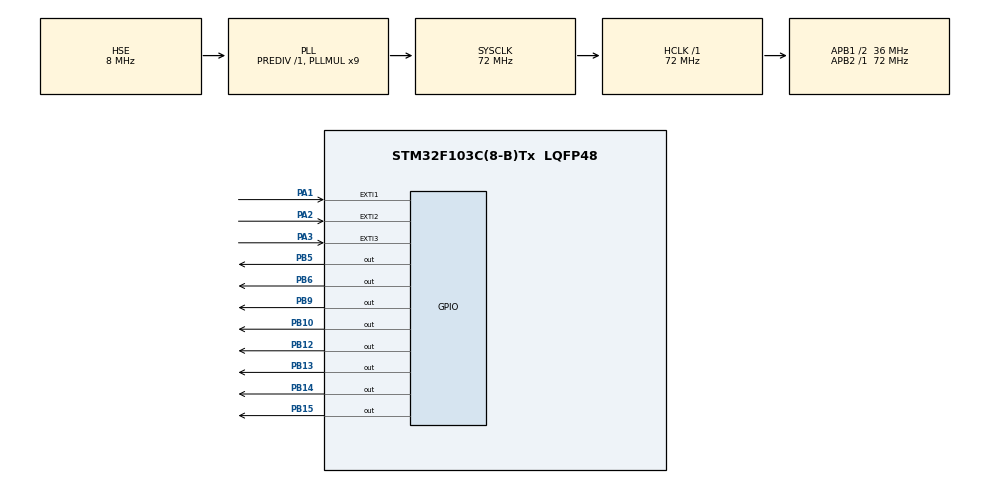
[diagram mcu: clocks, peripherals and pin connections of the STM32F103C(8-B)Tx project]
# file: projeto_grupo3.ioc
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Mcu.Family=STM32F1
Mcu.Name=STM32F103C(8-B)Tx
Mcu.Package=LQFP48
NVIC.EXTI1_IRQn=true\:0\:0\:false\:true\:true\:1\:true\:true\:true
NVIC.EXTI2_IRQn=true\:0\:0\:false\:true\:true\:2\:true\:true\:true
NVIC.EXTI3_IRQn=true\:0\:0\:false\:true\:true\:3\:true\:true\:true
NVIC.PriorityGroup=NVIC_PRIORITYGROUP_4
PA1.GPIO_ModeDefaultEXTI=GPIO_MODE_IT_FALLING
PA1.Signal=GPXTI1
PA13.Mode=Serial_Wire
PA13.Signal=SYS_JTMS-SWDIO
PA14.Mode=Serial_Wire
PA14.Signal=SYS_JTCK-SWCLK
PA2.GPIO_ModeDefaultEXTI=GPIO_MODE_IT_FALLING
PA2.Signal=GPXTI2
PA3.GPIO_ModeDefaultEXTI=GPIO_MODE_IT_FALLING
PA3.Signal=GPXTI3
PB10.Signal=GPIO_Output
PB12.Signal=GPIO_Output
PB13.Signal=GPIO_Output
PB14.Signal=GPIO_Output
PB15.Signal=GPIO_Output
PB5.Signal=GPIO_Output
PB6.Signal=GPIO_Output
PB9.Signal=GPIO_Output
PD0-OSC_IN.Mode=HSE-External-Oscillator
PD0-OSC_IN.Signal=RCC_OSC_IN
PD1-OSC_OUT.Mode=HSE-External-Oscillator
PD1-OSC_OUT.Signal=RCC_OSC_OUT
ProjectManager.HeapSize=0x200
ProjectManager.StackSize=0x400
ProjectManager.TargetToolchain=STM32CubeIDE
RCC.AHBFreq_Value=72000000
RCC.APB1CLKDivider=RCC_HCLK_DIV2
RCC.APB1Freq_Value=36000000
RCC.APB1TimFreq_Value=72000000
RCC.APB2Freq_Value=72000000
RCC.APB2TimFreq_Value=72000000
RCC.HCLKFreq_Value=72000000
RCC.PLLMUL=RCC_PLL_MUL9
RCC.PLLSourceVirtual=RCC_PLLSOURCE_HSE
RCC.SYSCLKFreq_VALUE=72000000
RCC.SYSCLKSource=RCC_SYSCLKSOURCE_PLLCLK
RCC.USBFreq_Value=72000000
board=custom

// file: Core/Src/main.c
/* USER CODE BEGIN Header */
/**
  ******************************************************************************
  * @file           : main.c
  * @brief          : Main program body
  ******************************************************************************
  * @attention
  *
  * Copyright (c) 2022 STMicroelectronics.
  * All rights reserved.
  *
  * This software is licensed under terms that can be found in the LICENSE file
  * in the root directory of this software component.
  * If no LICENSE file comes with this software, it is provided AS-IS.
  *
  ******************************************************************************
  */
/* USER CODE END Header */
#include "main.h"

/* USER CODE BEGIN PD */
#define DT_VARRE  5             // inc varredura a cada 5 ms (~200 Hz)
#define DIGITO_APAGADO 0x10    // kte valor p/ apagar um dígito no display
#define DT_LEI 10            // Leitura a cada 250 ms
#define NVZ_D1 12 // num vezes piscar LED D1
#define DT_D1 100 // delay do LED D1
#define NVZ_D2 4 // num vezes piscar LED D2
#define DT_D2 600 // delay do LED D2
#define NVZ_D3 8 // num vezes piscar LED D3
#define DT_D3 300 // delay do LED D3
#define NVZ_D4 2 // num vezes piscar LED D4
#define DT_D4 1000 // delay do LED D4
/* USER CODE END PD */

void SystemClock_Config(void);
static void MX_GPIO_Init(void);
static void MX_NVIC_Init(void);
/* USER CODE BEGIN PFP */
// funcoes do arquivo stm32f1xx_it.c
  void set_modo_oper(int);             // seta modo_oper (no stm32f1xx_it.c)
  int get_modo_oper(void);             // obtém modo_oper (stm32f1xx_it.c)
  // funcoes do arquivo prat_05_funcoes.c
  void reset_pin_GPIOs (void);         // reset pinos da SPI
  void serializar(int ser_data);       // prot fn serializa dados p/ 74HC595
  int16_t conv_7_seg(int NumHex);      // prot fn conv valor --> 7-seg
/* USER CODE BEGIN PFP */

/* USER CODE END PFP */

/* USER CODE BEGIN 0 */
  int16_t val_adc = 0;                 // var global: valor lido no ADC
/* USER CODE END 0 */

int main(void)
{
  /* USER CODE BEGIN 1 */
	// vars e flags de controle do programa no superloop...
		  int milADC = 0,                      // ini decimo de seg
			  cenADC = 0,                      // ini unidade de seg
			  dezADC = 0,                      // ini dezena de seg
			  uniADC = 0;                      // ini unidade de minuto
		  int hora=0;							//flag hora
		  int16_t val7seg = 0x00FF,            // inicia 7-seg com 0xF (tudo apagado)
			  serial_data = 0x01FF;            // dado a serializar (dig | val7seg)
		  uint32_t miliVolt = 0x0,             // val adc convertido p/ miliVolts
			  tIN_varre = 0,                   // registra tempo última varredura
		  	  tIN_lei = 0;                     // registra tempo da última leitura
  /* USER CODE END 1 */

  /* MCU Configuration--------------------------------------------------------*/

  /* Reset of all peripherals, Initializes the Flash interface and the Systick. */
  HAL_Init();

  /* Configure the system clock */
  SystemClock_Config();

  /* Initialize all configured peripherals */
  MX_GPIO_Init();

  /* Initialize interrupts */
  MX_NVIC_Init();
  /* USER CODE BEGIN 2 */
  HAL_GPIO_WritePin(GPIOB, GPIO_PIN_5, GPIO_PIN_SET); // desliga o LED
     HAL_GPIO_WritePin(GPIOB, GPIO_PIN_15, GPIO_PIN_SET); // desliga o LED
     HAL_GPIO_WritePin(GPIOB, GPIO_PIN_14, GPIO_PIN_SET); // desliga o LED
     HAL_GPIO_WritePin(GPIOB, GPIO_PIN_13, GPIO_PIN_SET); // desliga o LED
     HAL_GPIO_WritePin(GPIOB, GPIO_PIN_12, GPIO_PIN_SET); // desliga o LED
    // inicializa a SPI (pinos 6,9,10 da GPIOB)
     reset_pin_GPIOs ();
     // var de estado que controla a varredura (qual display é mostrado)
     static enum {DIG_UNI, DIG_DEC, DIG_CENS, DIG_MILS} sttVARRE=DIG_UNI;
  /* USER CODE END 2 */

  /* Infinite loop */
  while (1)
  {

    /* USER CODE BEGIN 3 */
	  // tarefa #1: se (modo_oper=1) faz uma conversão ADC
	 	  	if ((HAL_GetTick()-tIN_lei) > DT_LEI)
	 	  	{
	 	  	  // dispara por software uma conversão ADC
	 	  	tIN_lei = HAL_GetTick();
	 	  	  set_modo_oper(0);                // muda modo_oper p/ 0
	 	  	  //HAL_ADC_Start_IT(&hadc1);        // dispara ADC p/ conversão por IRQ
	 	  	val_adc++;

	 	  	if(milADC + 1 == 10){
	 	  		milADC = 0;
	 	  		cenADC++;
	 	  	}
	 	  	else {
	 	  		milADC++;
	 	  	}

	 	  	if(cenADC == 6){
	 	  		cenADC = 0;
	 	  		milADC = 0;
	 	  		dezADC++;
	 	  	}
	 	  	if(dezADC==10){
	 	  		dezADC=0;
	 	  		cenADC=0;
	 	  		milADC=0;
	 	  		uniADC++;
	 	  	}
	 		if(uniADC==6){
	 		 	  		dezADC=0;
	 		 	  		cenADC=0;
	 		 	  		milADC=0;
	 		 	  		uniADC=0;
	 		 	  		hora++;
	 		 }

	 	  		 	  	set_modo_oper(2);
	 	  		 	  	}

	 	  //tarefa #2: depois do IRQ ADC, converte para mVs (decimal, p/ 7-seg)
	 	      if (get_modo_oper()==2)            // entra qdo valor val_adc atualizado
	 	      {
	 	        // converter o valor lido em decimais p/ display
	 	    	 /*milADC = val_adc/1000000;
	 	    	 cenADC = (val_adc - 1000000*milADC)/100000;
	 	    	 dezADC = (val_adc - 100000*cenADC)/10000;
				 uniADC = (val_adc - 10000*dezADC)/1000;

	 	        miliVolt = val_adc;
	 	        dezADC = miliVolt/10000;
	 	        uniADC = miliVolt-(dezADC*10000);
	 	        	 */
	 	       // milADC =val_adc;
	 	       // uniADC = miliVolt/100;
	 	      //  dezADC = (miliVolt-(uniADC*1000))/100;
	 	       // cenADC = (miliVolt-(uniADC*1000)-(dezADC*100))/10;
	 	     //  milADC = miliVolt-(uniADC*1000)-(dezADC*100)-(cenADC*10);
	 	        set_modo_oper(0);                // zera var modo_oper
	 	      }

	 	  // tarefa #3: qdo milis() > DELAY_VARRE ms, desde a última mudança
	 	    if ((HAL_GetTick()-tIN_varre) > DT_VARRE)    // se ++0,1s atualiza o display
	 	    {
	 	  	//   tIN_varre = HAL_GetTick();         // salva tIN p/ prox tempo varredura
	 	  	switch(sttVARRE)                   // teste e escolha de qual DIG vai varrer
	 	  	{
	 	  	  case DIG_MILS:
	 	  	  {
	 	  		sttVARRE = DIG_CENS;           // ajusta p/ prox digito
	 	  		serial_data = 0x0008;          // display #1
	 	  		val7seg = conv_7_seg(milADC);
	 	  		break;
	 	  	  }
	 	  	  case DIG_CENS:
	 	  	  {
	 	  		sttVARRE = DIG_DEC;            // ajusta p/ prox digito
	 	  		serial_data = 0x00004;         // display #2
	 	  		if(cenADC>0 || dezADC>0 || uniADC>0)
	 	  		{
	 	  		  val7seg = conv_7_seg(cenADC);
	 	  		} else {
	 	  		  val7seg = conv_7_seg(DIGITO_APAGADO);
	 	  		}
	 	  		break;
	 	  	  }
	 	  	  case DIG_DEC:
	 	  	  {
	 	  		sttVARRE = DIG_UNI;            // ajusta p/ prox digito
	 	  		serial_data = 0x0002;          // display #3
	 	  		if(dezADC>0 || uniADC>0)
	 	  		{
	 	  		  val7seg = conv_7_seg(dezADC);
	 	  		} else {
	 	  		  val7seg = conv_7_seg(DIGITO_APAGADO);
	 	  		}
	 	  		break;
	 	  	  }
	 	  	  case DIG_UNI:
	 	  	  {
	 	  		sttVARRE = DIG_MILS;           // ajusta p/ prox digito
	 	  		serial_data = 0x0001;          // display #3
	 	  		if(uniADC>0)
	 	  		{
	 	  		  val7seg = conv_7_seg(uniADC);
	 	  		  val7seg &=0x7FFF;            // liga o ponto decimal
	 	  		} else {
	 	  		  val7seg = conv_7_seg(DIGITO_APAGADO);
	 	  		}
	 	  		break;
	 	  	  }
	 	  	}  // fim case
	 	    tIN_varre = HAL_GetTick();           // tmp atual em que fez essa varredura
	 	    serial_data |= val7seg;              // OR com val7seg = dado a serializar
	 	    serializar(serial_data);             // serializa dado p/74HC595 (shift reg)
	 	    }  // -- fim da tarefa #3 - varredura do display

	 	  }    // -- fim do loop infinito

  /* USER CODE END 3 */
}

void SystemClock_Config(void)
{
  RCC_OscInitTypeDef RCC_OscInitStruct = {0};
  RCC_ClkInitTypeDef RCC_ClkInitStruct = {0};

  /** Initializes the RCC Oscillators according to the specified parameters
  * in the RCC_OscInitTypeDef structure.
  */
  RCC_OscInitStruct.OscillatorType = RCC_OSCILLATORTYPE_HSE;
  RCC_OscInitStruct.HSEState = RCC_HSE_ON;
  RCC_OscInitStruct.HSEPredivValue = RCC_HSE_PREDIV_DIV1;
  RCC_OscInitStruct.HSIState = RCC_HSI_ON;
  RCC_OscInitStruct.PLL.PLLState = RCC_PLL_ON;
  RCC_OscInitStruct.PLL.PLLSource = RCC_PLLSOURCE_HSE;
  RCC_OscInitStruct.PLL.PLLMUL = RCC_PLL_MUL9;
  if (HAL_RCC_OscConfig(&RCC_OscInitStruct) != HAL_OK)
  {
    Error_Handler();
  }

  /** Initializes the CPU, AHB and APB buses clocks
  */
  RCC_ClkInitStruct.ClockType = RCC_CLOCKTYPE_HCLK|RCC_CLOCKTYPE_SYSCLK
                              |RCC_CLOCKTYPE_PCLK1|RCC_CLOCKTYPE_PCLK2;
  RCC_ClkInitStruct.SYSCLKSource = RCC_SYSCLKSOURCE_PLLCLK;
  RCC_ClkInitStruct.AHBCLKDivider = RCC_SYSCLK_DIV1;
  RCC_ClkInitStruct.APB1CLKDivider = RCC_HCLK_DIV2;
  RCC_ClkInitStruct.APB2CLKDivider = RCC_HCLK_DIV1;

  if (HAL_RCC_ClockConfig(&RCC_ClkInitStruct, FLASH_LATENCY_2) != HAL_OK)
  {
    Error_Handler();
  }
}

/**
  * @brief NVIC Configuration.
  * @retval None
  */
static void MX_NVIC_Init(void)
{
  /* EXTI1_IRQn interrupt configuration */
  HAL_NVIC_SetPriority(EXTI1_IRQn, 0, 0);
  HAL_NVIC_EnableIRQ(EXTI1_IRQn);
  /* EXTI2_IRQn interrupt configuration */
  HAL_NVIC_SetPriority(EXTI2_IRQn, 0, 0);
  HAL_NVIC_EnableIRQ(EXTI2_IRQn);
  /* EXTI3_IRQn interrupt configuration */
  HAL_NVIC_SetPriority(EXTI3_IRQn, 0, 0);
  HAL_NVIC_EnableIRQ(EXTI3_IRQn);
}

static void MX_GPIO_Init(void)
{
  GPIO_InitTypeDef GPIO_InitStruct = {0};

  /* GPIO Ports Clock Enable */
  __HAL_RCC_GPIOD_CLK_ENABLE();
  __HAL_RCC_GPIOA_CLK_ENABLE();
  __HAL_RCC_GPIOB_CLK_ENABLE();

  /*Configure GPIO pin Output Level */
  HAL_GPIO_WritePin(GPIOB, GPIO_PIN_10|GPIO_PIN_12|GPIO_PIN_13|GPIO_PIN_14
                          |GPIO_PIN_15|GPIO_PIN_5|GPIO_PIN_6|GPIO_PIN_9, GPIO_PIN_RESET);

  /*Configure GPIO pins : PA1 PA2 PA3 */
  GPIO_InitStruct.Pin = GPIO_PIN_1|GPIO_PIN_2|GPIO_PIN_3;
  GPIO_InitStruct.Mode = GPIO_MODE_IT_FALLING;
  GPIO_InitStruct.Pull = GPIO_NOPULL;
  HAL_GPIO_Init(GPIOA, &GPIO_InitStruct);

  /*Configure GPIO pins : PB10 PB12 PB13 PB14
                           PB15 PB5 PB6 PB9 */
  GPIO_InitStruct.Pin = GPIO_PIN_10|GPIO_PIN_12|GPIO_PIN_13|GPIO_PIN_14
                          |GPIO_PIN_15|GPIO_PIN_5|GPIO_PIN_6|GPIO_PIN_9;
  GPIO_InitStruct.Mode = GPIO_MODE_OUTPUT_PP;
  GPIO_InitStruct.Pull = GPIO_NOPULL;
  GPIO_InitStruct.Speed = GPIO_SPEED_FREQ_LOW;
  HAL_GPIO_Init(GPIOB, &GPIO_InitStruct);

}

void Error_Handler(void)
{
  __disable_irq();
  while (1)
  {
  }
}
